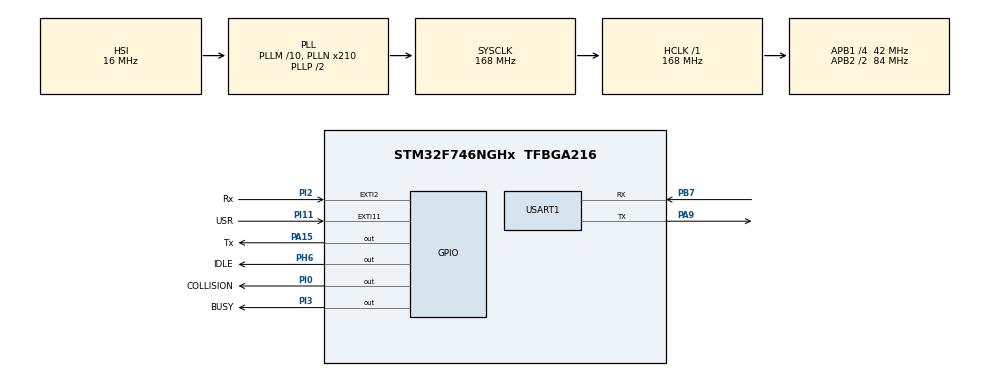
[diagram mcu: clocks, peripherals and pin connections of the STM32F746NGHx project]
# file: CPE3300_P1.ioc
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Mcu.Family=STM32F7
Mcu.Name=STM32F746NGHx
Mcu.Package=TFBGA216
NVIC.EXTI15_10_IRQn=true\:0\:0\:false\:false\:true\:true\:true\:true
NVIC.EXTI2_IRQn=true\:0\:0\:false\:false\:true\:true\:true\:true
NVIC.PriorityGroup=NVIC_PRIORITYGROUP_4
NVIC.TIM1_BRK_TIM9_IRQn=true\:0\:0\:true\:false\:true\:true\:true\:true
NVIC.TIM1_TRG_COM_TIM11_IRQn=true\:0\:0\:false\:false\:true\:true\:true\:true
NVIC.TIM1_UP_TIM10_IRQn=true\:0\:0\:false\:false\:true\:true\:true\:true
PA13.Mode=Serial_Wire
PA13.Signal=SYS_JTMS-SWDIO
PA14.Mode=Serial_Wire
PA14.Signal=SYS_JTCK-SWCLK
PA15.GPIO_Label=Tx
PA15.GPIO_PuPd=GPIO_NOPULL
PA15.GPIO_Speed=GPIO_SPEED_FREQ_VERY_HIGH
PA15.PinState=GPIO_PIN_SET
PA15.Signal=GPIO_Output
PA9.Mode=Asynchronous
PA9.Signal=USART1_TX
PB7.Mode=Asynchronous
PB7.Signal=USART1_RX
PH0/OSC_IN.Mode=HSE-External-Oscillator
PH0/OSC_IN.Signal=RCC_OSC_IN
PH1/OSC_OUT.Mode=HSE-External-Oscillator
PH1/OSC_OUT.Signal=RCC_OSC_OUT
PH6.GPIO_Label=IDLE
PH6.GPIO_PuPd=GPIO_PULLDOWN
PH6.GPIO_Speed=GPIO_SPEED_FREQ_VERY_HIGH
PH6.PinState=GPIO_PIN_SET
PH6.Signal=GPIO_Output
PI0.GPIO_Label=COLLISION
PI0.GPIO_PuPd=GPIO_PULLDOWN
PI0.GPIO_Speed=GPIO_SPEED_FREQ_VERY_HIGH
PI0.PinState=GPIO_PIN_SET
PI0.Signal=GPIO_Output
PI11.GPIO_Label=USR
PI11.GPIO_ModeDefaultEXTI=GPIO_MODE_IT_FALLING
PI11.GPIO_PuPd=GPIO_PULLUP
PI11.Signal=GPXTI11
PI2.GPIO_Label=Rx
PI2.GPIO_ModeDefaultEXTI=GPIO_MODE_IT_RISING_FALLING
PI2.GPIO_PuPd=GPIO_NOPULL
PI2.Signal=GPXTI2
PI3.GPIO_Label=BUSY
PI3.GPIO_PuPd=GPIO_PULLDOWN
PI3.GPIO_Speed=GPIO_SPEED_FREQ_VERY_HIGH
PI3.PinState=GPIO_PIN_SET
PI3.Signal=GPIO_Output
ProjectManager.HeapSize=0x200
ProjectManager.StackSize=0x400
ProjectManager.TargetToolchain=STM32CubeIDE
RCC.AHBFreq_Value=168000000
RCC.APB1CLKDivider=RCC_HCLK_DIV4
RCC.APB1Freq_Value=42000000
RCC.APB1TimCLKDivider=2
RCC.APB1TimFreq_Value=84000000
RCC.APB2CLKDivider=RCC_HCLK_DIV2
RCC.APB2Freq_Value=84000000
RCC.APB2TimFreq_Value=168000000
RCC.CortexFreq_Value=168000000
RCC.HCLKFreq_Value=168000000
RCC.HSE_VALUE=25000000
RCC.HSI_VALUE=16000000
RCC.LSE_VALUE=32768
RCC.PLLM=10
RCC.PLLN=210
RCC.PLLQ=10
RCC.PLLSourceVirtual=RCC_PLLSOURCE_HSI
RCC.SYSCLKFreq_VALUE=168000000
RCC.SYSCLKSource=RCC_SYSCLKSOURCE_PLLCLK
RCC.USBFreq_Value=33600000
RCC.VCOOutputFreq_Value=336000000
TIM10.AutoReloadPreload=TIM_AUTORELOAD_PRELOAD_ENABLE
TIM10.Period=499
TIM10.Prescaler=167
TIM11.Period=1105
TIM11.Prescaler=167
TIM8.Period=1400
TIM8.Prescaler=167
TIM9.Period=1105
TIM9.Prescaler=167
USART1.VirtualMode-Asynchronous=VM_ASYNC
VP_RNG_VS_RNG.Mode=RNG_Activate
VP_TIM10_VS_ClockSourceINT.Mode=Enable_Timer
VP_TIM11_VS_ClockSourceINT.Mode=Enable_Timer
VP_TIM8_VS_ClockSourceINT.Mode=Internal
VP_TIM9_VS_ClockSourceINT.Mode=Internal
board=STM32F746G-DISCO

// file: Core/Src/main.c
/* USER CODE BEGIN Header */
/**
 ******************************************************************************
 * @file           : main.c
 * @brief          : Main program body
 ******************************************************************************
 * @attention
 *
 * Copyright (c) 2026 STMicroelectronics.
 * All rights reserved.
 *
 * This software is licensed under terms that can be found in the LICENSE file
 * in the root directory of this software component.
 * If no LICENSE file comes with this software, it is provided AS-IS.
 *
 ******************************************************************************
 */
/* USER CODE END Header */
#include "main.h"
#include "rng.h"
#include "tim.h"
#include "usart.h"
#include "gpio.h"

/* USER CODE BEGIN Includes */
#include <stdbool.h>
#include <stdint.h>
#include <stdio.h>
#include <string.h>
#include <stdlib.h>
#include "transmitter.h"
#include "receiver.h"
/* USER CODE END Includes */

/* USER CODE BEGIN PTD */
bool transmitting = false;
const char *manchester_start = "1001100110011001";
volatile bool print_rx_message = false;
volatile bool recieving_message = false;
int message_index = 0;
char *combined_message;
volatile bool start_of_transmission = true;
char *manchester_message;
char *binary_message;
char message_length_manchester[17];

typedef enum {
	IDLE, BUSY, COLLISION,
} state_t;

volatile state_t current_state;

void setState(state_t new_state) {
	current_state = new_state;

	switch (new_state) {
	case IDLE:
		HAL_GPIO_WritePin(IDLE_GPIO_Port, IDLE_Pin, GPIO_PIN_SET);
		HAL_GPIO_WritePin(BUSY_GPIO_Port, BUSY_Pin, GPIO_PIN_RESET);
		HAL_GPIO_WritePin(COLLISION_GPIO_Port, COLLISION_Pin, GPIO_PIN_RESET);
		break;

	case BUSY:
		HAL_GPIO_WritePin(IDLE_GPIO_Port, IDLE_Pin, GPIO_PIN_RESET);
		HAL_GPIO_WritePin(BUSY_GPIO_Port, BUSY_Pin, GPIO_PIN_SET);
		HAL_GPIO_WritePin(COLLISION_GPIO_Port, COLLISION_Pin, GPIO_PIN_RESET);
		break;

	case COLLISION:
		HAL_GPIO_WritePin(IDLE_GPIO_Port, IDLE_Pin, GPIO_PIN_RESET);
		HAL_GPIO_WritePin(BUSY_GPIO_Port, BUSY_Pin, GPIO_PIN_RESET);
		HAL_GPIO_WritePin(COLLISION_GPIO_Port, COLLISION_Pin, GPIO_PIN_SET);
		break;
	}
}

/* USER CODE END PTD */

/* USER CODE BEGIN PD */
#define PUTCHAR_PROTOTYPE int __io_putchar(int ch)
#define GETCHAR_PROTOTYPE int __io_getchar(void)

void random_wait(){
	uint32_t random32bit  = 0;
	HAL_RNG_GenerateRandomNumber(&hrng, &random32bit);
	float random_value = (float)random32bit / 0xFFFFFFFF;
	int random_wait_ms = (int)(random_value * 1000);
	HAL_Delay(random_wait_ms);
}

/* USER CODE END PD */

void SystemClock_Config(void);

/* USER CODE BEGIN 0 */
PUTCHAR_PROTOTYPE {
	HAL_UART_Transmit(&huart1, (uint8_t*) &ch, 1, HAL_MAX_DELAY);
	return ch;
}

GETCHAR_PROTOTYPE {
	uint8_t ch = 0;
	__HAL_UART_CLEAR_OREFLAG(&huart1);
	HAL_UART_Receive(&huart1, (uint8_t*) &ch, 1, HAL_MAX_DELAY);
	return ch;
}

void sendBit(char bit) {
	if (bit == '0') {
		HAL_GPIO_WritePin(Tx_GPIO_Port, Tx_Pin, RESET);
	} else if (bit == '1') {
		HAL_GPIO_WritePin(Tx_GPIO_Port, Tx_Pin, SET);
	}
}

volatile uint16_t rx_index = 0;
volatile char rx_message[2500] = { '0' };
// Function to convert string to binary representation

void startTransmission() {
	message_index = 0;
	transmitting = true;
	start_of_transmission = true;
	HAL_TIM_Base_Start_IT(&htim10);

}

void stopTransmission() {
	HAL_TIM_Base_Stop_IT(&htim10);
	HAL_GPIO_WritePin(Tx_GPIO_Port, Tx_Pin, SET);
	transmitting = false;
	free(binary_message);
	free(manchester_message);
}

// TIM10 has a 0.5ms period. This will allow us to toggle
// TIM11 is for busy
// TIM9 is for collision
// the output pin properly for the manchester encoding.
void HAL_TIM_PeriodElapsedCallback(TIM_HandleTypeDef *htim) {
	if (htim->Instance == TIM10) { // Tx timer

		if (message_index < strlen(combined_message)) {
			sendBit(combined_message[message_index++]);
			setState(BUSY); //Busy state while transmitting
		} else {
			// message has been sent
			stopTransmission();
			setState(IDLE);
		}
	} else if (htim->Instance == TIM9) { // Collison timer

		// if Rx is low, after 1.1 ms, enter collsion state
		if (HAL_GPIO_ReadPin(Rx_GPIO_Port, Rx_Pin)
				== GPIO_PIN_RESET) {
			setState(COLLISION);
			if(message_index < strlen(combined_message)){
				HAL_TIM_Base_Stop_IT(&htim10);
			}
			rx_index = 0;

		} else {
			//HAL_GPIO_WritePin(COLLISION_GPIO_Port, COLLISION_Pin, GPIO_PIN_RESET);
			setState(BUSY);
		}
		HAL_TIM_Base_Stop_IT(&htim9);

	} else if (htim->Instance == TIM11) { // idle timer
		// TODO: ADD IDLE LOGIC
		// if after 1.1ms rx is high, enter idle state
		if (HAL_GPIO_ReadPin(Rx_GPIO_Port, Rx_Pin) == GPIO_PIN_SET) {
			if (recieving_message == true) {
				print_rx_message = true;
				start_of_transmission = true;
			}
			setState(IDLE);
		} else {
			//clear idle state
			//HAL_GPIO_WritePin(IDLE_GPIO_Port, IDLE_Pin,GPIO_PIN_RESET);
			setState(BUSY);
		}
		HAL_TIM_Base_Stop_IT(&htim11);
	}
}

/* USER CODE END 0 */

int main(void)
{

  /* USER CODE BEGIN 1 */
	setvbuf(stdin, NULL, _IONBF, 0);
  /* USER CODE END 1 */

  /* MCU Configuration--------------------------------------------------------*/

  /* Reset of all peripherals, Initializes the Flash interface and the Systick. */
  HAL_Init();

  /* Configure the system clock */
  SystemClock_Config();

  /* Initialize all configured peripherals */
  MX_GPIO_Init();
  MX_USART1_UART_Init();
  MX_TIM10_Init();
  MX_TIM9_Init();
  MX_TIM11_Init();
  MX_TIM8_Init();
  MX_RNG_Init();
  /* USER CODE BEGIN 2 */

	HAL_GPIO_WritePin(Tx_GPIO_Port, Tx_Pin, SET);
	printf("Listening for a message... \n");
	char message_to_print[255] = { 'F' };
	char message_to_send_buffer[255] = { '0' };
	int message_to_send_index = 0;
  /* USER CODE END 2 */

  /* Infinite loop */
	while (1) {

    /* USER CODE BEGIN 3 */
		char entered_char = 0;
		__HAL_UART_CLEAR_OREFLAG(&huart1);
		// to keep this method non-blocking the character
		// has to be read from the UART signal one by one.
		// The HAL_UART_Receive function will return a status of HAL_OK if and only if a
		// character is retrieved wihtin the timput.
		// if the character entered is \n or \r the message is sent
		if (HAL_UART_Receive(&huart1, (uint8_t*) &entered_char, 1, 20)
				== HAL_OK) {
			// TODO: only send messages that aren't empty
			if (entered_char == '\n' || entered_char == '\r') {
				message_to_send_buffer[message_to_send_index] = '\0';
				printf("Sending message %s\n", message_to_send_buffer);
				message_to_send_index = 0;

				// convert the message length into manchester form.
				lengthToString(strlen(message_to_send_buffer), message_length_manchester);

				binary_message = stringToBinary(message_to_send_buffer);
				manchester_message = binaryToManchester(binary_message);

				int combined_length = strlen(manchester_start)
						+ strlen(message_length_manchester)
						+ strlen(manchester_message);
				combined_message = malloc((combined_length + 1) * sizeof(char));
				snprintf(combined_message, (combined_length + 1) * sizeof(char),
						"%s%s%s", manchester_start, message_length_manchester,
						manchester_message);
				startTransmission();

			} else {
				message_to_send_buffer[message_to_send_index++] = entered_char;
			}

		} else if (print_rx_message == true && rx_index > 8) {
			rx_message[rx_index + 1] = '\0';
			decodeBinary(rx_message, message_to_print);
			printf("Received Message: %s\n", message_to_print);
			print_rx_message = false;
			recieving_message = false;
			rx_index = 0;
			printf("Enter message to send: \n");
		} else if (current_state == COLLISION ){
			// generate random number
			// set timer to wait radnom amount of time
			// use timer IT callback to restart transmission
			rx_index = 0;

			if(message_index < strlen(combined_message)){
				HAL_TIM_Base_Stop_IT(&htim10);
				HAL_GPIO_WritePin(Tx_GPIO_Port, Tx_Pin, GPIO_PIN_SET);
			random_wait();
			startTransmission();
			}

			//stopTransmission();
			//startTransmission();

		}
	}
  /* USER CODE END 3 */
}

void SystemClock_Config(void)
{
  RCC_OscInitTypeDef RCC_OscInitStruct = {0};
  RCC_ClkInitTypeDef RCC_ClkInitStruct = {0};

  /** Configure the main internal regulator output voltage
  */
  __HAL_RCC_PWR_CLK_ENABLE();
  __HAL_PWR_VOLTAGESCALING_CONFIG(PWR_REGULATOR_VOLTAGE_SCALE2);

  /** Initializes the RCC Oscillators according to the specified parameters
  * in the RCC_OscInitTypeDef structure.
  */
  RCC_OscInitStruct.OscillatorType = RCC_OSCILLATORTYPE_HSI;
  RCC_OscInitStruct.HSIState = RCC_HSI_ON;
  RCC_OscInitStruct.HSICalibrationValue = RCC_HSICALIBRATION_DEFAULT;
  RCC_OscInitStruct.PLL.PLLState = RCC_PLL_ON;
  RCC_OscInitStruct.PLL.PLLSource = RCC_PLLSOURCE_HSI;
  RCC_OscInitStruct.PLL.PLLM = 10;
  RCC_OscInitStruct.PLL.PLLN = 210;
  RCC_OscInitStruct.PLL.PLLP = RCC_PLLP_DIV2;
  RCC_OscInitStruct.PLL.PLLQ = 10;
  if (HAL_RCC_OscConfig(&RCC_OscInitStruct) != HAL_OK)
  {
    Error_Handler();
  }

  /** Initializes the CPU, AHB and APB buses clocks
  */
  RCC_ClkInitStruct.ClockType = RCC_CLOCKTYPE_HCLK|RCC_CLOCKTYPE_SYSCLK
                              |RCC_CLOCKTYPE_PCLK1|RCC_CLOCKTYPE_PCLK2;
  RCC_ClkInitStruct.SYSCLKSource = RCC_SYSCLKSOURCE_PLLCLK;
  RCC_ClkInitStruct.AHBCLKDivider = RCC_SYSCLK_DIV1;
  RCC_ClkInitStruct.APB1CLKDivider = RCC_HCLK_DIV4;
  RCC_ClkInitStruct.APB2CLKDivider = RCC_HCLK_DIV2;

  if (HAL_RCC_ClockConfig(&RCC_ClkInitStruct, FLASH_LATENCY_5) != HAL_OK)
  {
    Error_Handler();
  }
}

/* USER CODE BEGIN 4 */
volatile bool skip_edge = true;

// 0 for falling
// 1 for rising edge
void HAL_GPIO_EXTI_Callback(uint16_t GPIO_Pin) {
	// check to see if the interupt was caused by the Rx Pin edge
	// TODO: Impliment BUSY CODE
	// TODO: Implement IDLE CODE
	if (GPIO_Pin == Rx_Pin) {

		GPIO_PinState rx_value = HAL_GPIO_ReadPin(Rx_GPIO_Port, Rx_Pin);

		HAL_TIM_Base_Stop_IT(&htim11); //idle
		HAL_TIM_Base_Stop_IT(&htim9);

		//Rising edge --> idle
		if (rx_value == GPIO_PIN_SET) {

			__HAL_TIM_SET_COUNTER(&htim11, 0);
			HAL_TIM_Base_Start_IT(&htim11);
		} else { //Falling edge ->collision
			__HAL_TIM_SET_COUNTER(&htim9, 0);
			HAL_TIM_Base_Start_IT(&htim9);
		}

		setState(BUSY);
		recieving_message = true;
		if (start_of_transmission == true) {
			__HAL_TIM_SET_COUNTER(&htim8, 0);
			HAL_TIM_Base_Start(&htim8);
			start_of_transmission = false;
			return;
		}

		uint16_t time_elapsed = __HAL_TIM_GET_COUNTER(&htim8);

		if (time_elapsed < 750) {
			if (skip_edge == true) {
				skip_edge = false;
			} else {
				if (rx_value == GPIO_PIN_SET) {
					rx_message[++rx_index] = '1';
				} else {
					rx_message[++rx_index] = '0';
				}
				skip_edge = true;
			}
		} else {
			if (rx_value == GPIO_PIN_SET) {
				rx_message[++rx_index] = '1';
			} else {
				rx_message[++rx_index] = '0';

			}
			skip_edge = true;
			//rx_message[rx_index++] = HAL_GPIO_ReadPin(Rx_GPIO_Port, Rx_Pin);

		}
		__HAL_TIM_SET_COUNTER(&htim8, 0);
		HAL_TIM_Base_Start(&htim8);
	}
}

/* USER CODE END 4 */

void Error_Handler(void)
{
	__disable_irq();
	while (1) {
	}
}
